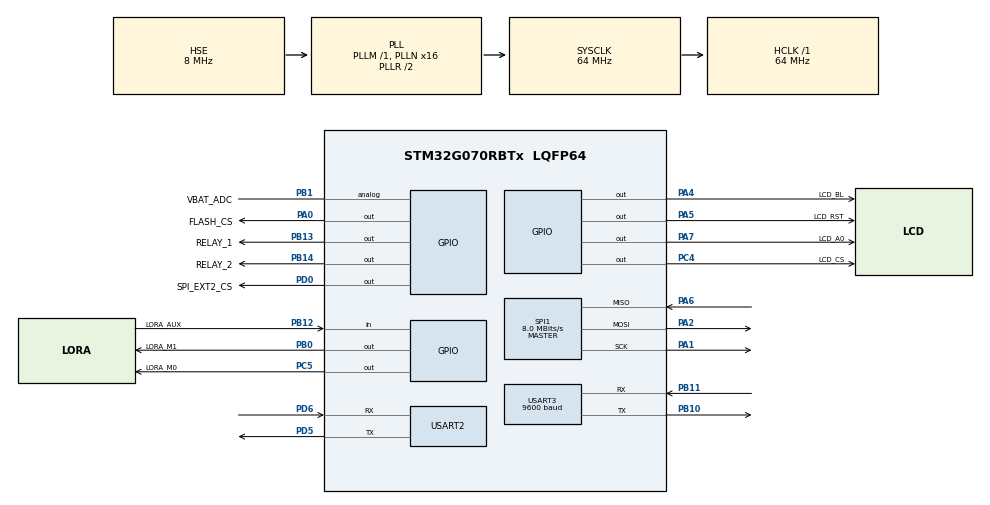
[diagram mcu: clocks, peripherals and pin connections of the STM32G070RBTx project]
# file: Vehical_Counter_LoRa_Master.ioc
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FREERTOS.Tasks01=defaultTask,24,128,StartDefaultTask,Default,NULL,Dynamic,NULL,NULL;GLCDTask,24,256,StartGLCDTask,As external,NULL,Dynamic,NULL,NULL
FREERTOS.configRECORD_STACK_HIGH_ADDRESS=1
FREERTOS.configUSE_NEWLIB_REENTRANT=1
IWDG.Prescaler=IWDG_PRESCALER_256
Mcu.Family=STM32G0
Mcu.Name=STM32G070RBTx
Mcu.Package=LQFP64
Mcu.UserConstants=LORA_USART,$$_USART3_IP_HANDLE_$$
NVIC.TIM14_IRQn=true\:3\:0\:false\:false\:true\:false\:false\:true\:true
NVIC.TimeBase=TIM14_IRQn
NVIC.TimeBaseIP=TIM14
NVIC.USART3_4_IRQn=true\:3\:0\:false\:false\:true\:true\:true\:false\:true
PA0.GPIO_Label=FLASH_CS
PA0.Signal=GPIO_Output
PA1.Mode=Full_Duplex_Master
PA1.Signal=SPI1_SCK
PA13.Mode=Serial_Wire
PA13.Signal=SYS_SWDIO
PA14-BOOT0.Mode=Serial_Wire
PA14-BOOT0.Signal=SYS_SWCLK
PA2.Mode=Full_Duplex_Master
PA2.Signal=SPI1_MOSI
PA4.GPIO_Label=LCD_BL
PA4.Signal=GPIO_Output
PA5.GPIO_Label=LCD_RST
PA5.Signal=GPIO_Output
PA6.Mode=Full_Duplex_Master
PA6.Signal=SPI1_MISO
PA7.GPIO_Label=LCD_A0
PA7.GPIO_Speed=GPIO_SPEED_FREQ_VERY_HIGH
PA7.Signal=GPIO_Output
PB0.GPIO_Label=LORA_M1
PB0.PinState=GPIO_PIN_SET
PB0.Signal=GPIO_Output
PB1.GPIO_Label=VBAT_ADC
PB1.Signal=GPIO_Analog
PB10.Mode=Asynchronous
PB10.Signal=USART3_TX
PB11.Mode=Asynchronous
PB11.Signal=USART3_RX
PB12.GPIO_Label=LORA_AUX
PB12.Signal=GPIO_Input
PB13.GPIO_Label=RELAY_1
PB13.Signal=GPIO_Output
PB14.GPIO_Label=RELAY_2
PB14.Signal=GPIO_Output
PC4.GPIO_Label=LCD_CS
PC4.GPIO_Speed=GPIO_SPEED_FREQ_VERY_HIGH
PC4.Signal=GPIO_Output
PC5.GPIO_Label=LORA_M0
PC5.PinState=GPIO_PIN_SET
PC5.Signal=GPIO_Output
PD0.GPIO_Label=SPI_EXT2_CS
PD0.Signal=GPIO_Output
PD5.Mode=Asynchronous
PD5.Signal=USART2_TX
PD6.Mode=Asynchronous
PD6.Signal=USART2_RX
PF0-OSC_IN\ (PF0).Mode=HSE-External-Oscillator
PF0-OSC_IN\ (PF0).Signal=RCC_OSC_IN
PF1-OSC_OUT\ (PF1).Mode=HSE-External-Oscillator
PF1-OSC_OUT\ (PF1).Signal=RCC_OSC_OUT
ProjectManager.HeapSize=0x200
ProjectManager.StackSize=0x400
ProjectManager.TargetToolchain=STM32CubeIDE
RCC.ADCFreq_Value=64000000
RCC.AHBFreq_Value=64000000
RCC.CortexFreq_Value=64000000
RCC.EXTERNAL_CLOCK_VALUE=48000
RCC.HCLKFreq_Value=64000000
RCC.HSE_VALUE=8000000
RCC.HSI_VALUE=16000000
RCC.LSE_VALUE=32768
RCC.PLLN=16
RCC.PLLSourceVirtual=RCC_PLLSOURCE_HSE
RCC.SYSCLKFreq_VALUE=64000000
RCC.SYSCLKSource=RCC_SYSCLKSOURCE_PLLCLK
RCC.VCOOutputFreq_Value=128000000
SPI1.BaudRatePrescaler=SPI_BAUDRATEPRESCALER_8
SPI1.CalculateBaudRate=8.0 MBits/s
SPI1.DataSize=SPI_DATASIZE_8BIT
SPI1.Direction=SPI_DIRECTION_2LINES
SPI1.Mode=SPI_MODE_MASTER
SPI1.VirtualType=VM_MASTER
USART2.VirtualMode-Asynchronous=VM_ASYNC
USART3.BaudRate=9600
USART3.VirtualMode-Asynchronous=VM_ASYNC
VP_FREERTOS_VS_CMSIS_V2.Mode=CMSIS_V2
VP_IWDG_VS_IWDG.Mode=IWDG_Activate
VP_SYS_VS_tim14.Mode=TIM14
board=custom

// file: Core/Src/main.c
/* USER CODE BEGIN Header */
/**
  ******************************************************************************
  * @file           : main.c
  * @brief          : Main program body
  ******************************************************************************
  * @attention
  *
  * Copyright (c) 2025 STMicroelectronics.
  * All rights reserved.
  *
  * This software is licensed under terms that can be found in the LICENSE file
  * in the root directory of this software component.
  * If no LICENSE file comes with this software, it is provided AS-IS.
  *
  ******************************************************************************
  */
/*
 *
 * USART USAGE
 * ***********
 * USART2->DEBUG
 * USART3->LoRa Wireless
*/
/* USER CODE END Header */
#include "main.h"
#include "cmsis_os.h"

/* USER CODE BEGIN Includes */
#include <stdio.h>
#include <stdbool.h>
#include <string.h>
#include <master_config.h>
#include "gfx.h"
#include "font.h"
#include "fnt_arial12.h"
#include <lorae32_stm32.h>
#include "myconsole_glcd.h"
#include "./Tasks/glcd_task.h"
#include "Tasks/ui.h"
#include <ctype.h>
#include <mono_glcd_240px_bmp.h>
/* USER CODE END Includes */

IWDG_HandleTypeDef hiwdg;

SPI_HandleTypeDef hspi1;

UART_HandleTypeDef huart2;
UART_HandleTypeDef huart3;

/* Definitions for defaultTask */
osThreadId_t defaultTaskHandle;
const osThreadAttr_t defaultTask_attributes = {
  .name = "defaultTask",
  .priority = (osPriority_t) osPriorityNormal,
  .stack_size = 128 * 4
};
/* Definitions for GLCDTask */
osThreadId_t GLCDTaskHandle;
const osThreadAttr_t GLCDTask_attributes = {
  .name = "GLCDTask",
  .priority = (osPriority_t) osPriorityNormal,
  .stack_size = 256 * 4
};
/* USER CODE BEGIN PV */
//disabled slaves are not polled to save time
bool slave_enabled[SLAVE_COUNT]={true,true,false,false,false,false,false,false};
uint16_t previous_speed[16];
/* USER CODE END PV */

void SystemClock_Config(void);
static void MX_GPIO_Init(void);
static void MX_USART3_UART_Init(void);
static void MX_USART2_UART_Init(void);
static void MX_SPI1_Init(void);
static void MX_IWDG_Init(void);
void StartDefaultTask(void *argument);
extern void StartGLCDTask(void *argument);

/* USER CODE BEGIN PFP */
static void ShowLogoScreen();
/* USER CODE END PFP */

int main(void)
{

  /* MCU Configuration--------------------------------------------------------*/

  /* Reset of all peripherals, Initializes the Flash interface and the Systick. */
  HAL_Init();

  /* Configure the system clock */
  SystemClock_Config();

  /* Initialize all configured peripherals */
  MX_GPIO_Init();
  MX_USART3_UART_Init();
  MX_USART2_UART_Init();
  MX_SPI1_Init();
  MX_IWDG_Init();
  /* USER CODE BEGIN 2 */
  GFXInit();
  GFXBacklightOn();
  InitConsole();
  //m2m_wifi_init();

  ShowLogoScreen();
  /* USER CODE END 2 */

  /* Init scheduler */
  osKernelInitialize();

  /* Create the thread(s) */
  /* creation of defaultTask */
  defaultTaskHandle = osThreadNew(StartDefaultTask, NULL, &defaultTask_attributes);

  /* creation of GLCDTask */
  GLCDTaskHandle = osThreadNew(StartGLCDTask, NULL, &GLCDTask_attributes);

  /* Start scheduler */
  osKernelStart();

  /* We should never get here as control is now taken by the scheduler */

  /* Infinite loop */
  /* USER CODE BEGIN WHILE */
  while (1)
  {
	  /*
	  HAL_GPIO_WritePin(LCD_BL_GPIO_Port, LCD_BL_Pin, GPIO_PIN_SET);
	  HAL_GPIO_WritePin(FLASH_CS_GPIO_Port, FLASH_CS_Pin, GPIO_PIN_RESET);
	  HAL_Delay(500);
	  HAL_GPIO_WritePin(RELAY_1_GPIO_Port, RELAY_1_Pin, GPIO_PIN_SET);
	  HAL_GPIO_WritePin(LCD_BL_GPIO_Port, LCD_BL_Pin, GPIO_PIN_RESET);
	  HAL_Delay(500);
	  HAL_GPIO_WritePin(RELAY_2_GPIO_Port, RELAY_2_Pin, GPIO_PIN_SET);
	  HAL_Delay(500);
	  HAL_GPIO_WritePin(FLASH_CS_GPIO_Port, FLASH_CS_Pin, GPIO_PIN_SET);
	  HAL_GPIO_WritePin(RELAY_1_GPIO_Port, RELAY_1_Pin, GPIO_PIN_RESET);
	  HAL_GPIO_WritePin(RELAY_2_GPIO_Port, RELAY_2_Pin, GPIO_PIN_RESET);
	  HAL_Delay(500);
	  */
    /* USER CODE END WHILE */

  }
}

void SystemClock_Config(void)
{
  RCC_OscInitTypeDef RCC_OscInitStruct = {0};
  RCC_ClkInitTypeDef RCC_ClkInitStruct = {0};

  /** Configure the main internal regulator output voltage
  */
  HAL_PWREx_ControlVoltageScaling(PWR_REGULATOR_VOLTAGE_SCALE1);

  /** Initializes the RCC Oscillators according to the specified parameters
  * in the RCC_OscInitTypeDef structure.
  */
  RCC_OscInitStruct.OscillatorType = RCC_OSCILLATORTYPE_LSI|RCC_OSCILLATORTYPE_HSE;
  RCC_OscInitStruct.HSEState = RCC_HSE_ON;
  RCC_OscInitStruct.LSIState = RCC_LSI_ON;
  RCC_OscInitStruct.PLL.PLLState = RCC_PLL_ON;
  RCC_OscInitStruct.PLL.PLLSource = RCC_PLLSOURCE_HSE;
  RCC_OscInitStruct.PLL.PLLM = RCC_PLLM_DIV1;
  RCC_OscInitStruct.PLL.PLLN = 16;
  RCC_OscInitStruct.PLL.PLLP = RCC_PLLP_DIV2;
  RCC_OscInitStruct.PLL.PLLR = RCC_PLLR_DIV2;
  if (HAL_RCC_OscConfig(&RCC_OscInitStruct) != HAL_OK)
  {
    Error_Handler();
  }

  /** Initializes the CPU, AHB and APB buses clocks
  */
  RCC_ClkInitStruct.ClockType = RCC_CLOCKTYPE_HCLK|RCC_CLOCKTYPE_SYSCLK
                              |RCC_CLOCKTYPE_PCLK1;
  RCC_ClkInitStruct.SYSCLKSource = RCC_SYSCLKSOURCE_PLLCLK;
  RCC_ClkInitStruct.AHBCLKDivider = RCC_SYSCLK_DIV1;
  RCC_ClkInitStruct.APB1CLKDivider = RCC_HCLK_DIV1;

  if (HAL_RCC_ClockConfig(&RCC_ClkInitStruct, FLASH_LATENCY_2) != HAL_OK)
  {
    Error_Handler();
  }
}

static void MX_IWDG_Init(void)
{

  hiwdg.Instance = IWDG;
  hiwdg.Init.Prescaler = IWDG_PRESCALER_256;
  hiwdg.Init.Window = 4095;
  hiwdg.Init.Reload = 4095;
  if (HAL_IWDG_Init(&hiwdg) != HAL_OK)
  {
    Error_Handler();
  }

}

static void MX_SPI1_Init(void)
{

  /* SPI1 parameter configuration*/
  hspi1.Instance = SPI1;
  hspi1.Init.Mode = SPI_MODE_MASTER;
  hspi1.Init.Direction = SPI_DIRECTION_2LINES;
  hspi1.Init.DataSize = SPI_DATASIZE_8BIT;
  hspi1.Init.CLKPolarity = SPI_POLARITY_LOW;
  hspi1.Init.CLKPhase = SPI_PHASE_1EDGE;
  hspi1.Init.NSS = SPI_NSS_SOFT;
  hspi1.Init.BaudRatePrescaler = SPI_BAUDRATEPRESCALER_8;
  hspi1.Init.FirstBit = SPI_FIRSTBIT_MSB;
  hspi1.Init.TIMode = SPI_TIMODE_DISABLE;
  hspi1.Init.CRCCalculation = SPI_CRCCALCULATION_DISABLE;
  hspi1.Init.CRCPolynomial = 7;
  hspi1.Init.CRCLength = SPI_CRC_LENGTH_DATASIZE;
  hspi1.Init.NSSPMode = SPI_NSS_PULSE_ENABLE;
  if (HAL_SPI_Init(&hspi1) != HAL_OK)
  {
    Error_Handler();
  }

}

static void MX_USART2_UART_Init(void)
{

  huart2.Instance = USART2;
  huart2.Init.BaudRate = 115200;
  huart2.Init.WordLength = UART_WORDLENGTH_8B;
  huart2.Init.StopBits = UART_STOPBITS_1;
  huart2.Init.Parity = UART_PARITY_NONE;
  huart2.Init.Mode = UART_MODE_TX_RX;
  huart2.Init.HwFlowCtl = UART_HWCONTROL_NONE;
  huart2.Init.OverSampling = UART_OVERSAMPLING_16;
  huart2.Init.OneBitSampling = UART_ONE_BIT_SAMPLE_DISABLE;
  huart2.Init.ClockPrescaler = UART_PRESCALER_DIV1;
  huart2.AdvancedInit.AdvFeatureInit = UART_ADVFEATURE_NO_INIT;
  if (HAL_UART_Init(&huart2) != HAL_OK)
  {
    Error_Handler();
  }
  if (HAL_UARTEx_SetTxFifoThreshold(&huart2, UART_TXFIFO_THRESHOLD_1_8) != HAL_OK)
  {
    Error_Handler();
  }
  if (HAL_UARTEx_SetRxFifoThreshold(&huart2, UART_RXFIFO_THRESHOLD_1_8) != HAL_OK)
  {
    Error_Handler();
  }
  if (HAL_UARTEx_DisableFifoMode(&huart2) != HAL_OK)
  {
    Error_Handler();
  }

}

static void MX_USART3_UART_Init(void)
{

  /* USER CODE BEGIN USART3_Init 0 */
  //This USART is connected to LoRa @ 9600
  /* USER CODE END USART3_Init 0 */

  huart3.Instance = USART3;
  huart3.Init.BaudRate = 9600;
  huart3.Init.WordLength = UART_WORDLENGTH_8B;
  huart3.Init.StopBits = UART_STOPBITS_1;
  huart3.Init.Parity = UART_PARITY_NONE;
  huart3.Init.Mode = UART_MODE_TX_RX;
  huart3.Init.HwFlowCtl = UART_HWCONTROL_NONE;
  huart3.Init.OverSampling = UART_OVERSAMPLING_16;
  huart3.Init.OneBitSampling = UART_ONE_BIT_SAMPLE_DISABLE;
  huart3.Init.ClockPrescaler = UART_PRESCALER_DIV1;
  huart3.AdvancedInit.AdvFeatureInit = UART_ADVFEATURE_NO_INIT;
  if (HAL_UART_Init(&huart3) != HAL_OK)
  {
    Error_Handler();
  }
  /* USER CODE BEGIN USART3_Init 2 */
  //ATOMIC_SET_BIT(huart3.Instance->CR1, USART_CR1_RXNEIE_RXFNEIE);

  /* USER CODE END USART3_Init 2 */

}

static void MX_GPIO_Init(void)
{
  GPIO_InitTypeDef GPIO_InitStruct = {0};

  /* GPIO Ports Clock Enable */
  __HAL_RCC_GPIOF_CLK_ENABLE();
  __HAL_RCC_GPIOA_CLK_ENABLE();
  __HAL_RCC_GPIOC_CLK_ENABLE();
  __HAL_RCC_GPIOB_CLK_ENABLE();
  __HAL_RCC_GPIOD_CLK_ENABLE();

  /*Configure GPIO pin Output Level */
  HAL_GPIO_WritePin(GPIOA, FLASH_CS_Pin|LCD_BL_Pin|LCD_RST_Pin|LCD_A0_Pin, GPIO_PIN_RESET);

  /*Configure GPIO pin Output Level */
  HAL_GPIO_WritePin(LCD_CS_GPIO_Port, LCD_CS_Pin, GPIO_PIN_RESET);

  /*Configure GPIO pin Output Level */
  HAL_GPIO_WritePin(LORA_M0_GPIO_Port, LORA_M0_Pin, GPIO_PIN_SET);

  /*Configure GPIO pin Output Level */
  HAL_GPIO_WritePin(LORA_M1_GPIO_Port, LORA_M1_Pin, GPIO_PIN_SET);

  /*Configure GPIO pin Output Level */
  HAL_GPIO_WritePin(GPIOB, RELAY_1_Pin|RELAY_2_Pin, GPIO_PIN_RESET);

  /*Configure GPIO pin Output Level */
  HAL_GPIO_WritePin(SPI_EXT2_CS_GPIO_Port, SPI_EXT2_CS_Pin, GPIO_PIN_RESET);

  /*Configure GPIO pins : FLASH_CS_Pin LCD_BL_Pin LCD_RST_Pin */
  GPIO_InitStruct.Pin = FLASH_CS_Pin|LCD_BL_Pin|LCD_RST_Pin;
  GPIO_InitStruct.Mode = GPIO_MODE_OUTPUT_PP;
  GPIO_InitStruct.Pull = GPIO_NOPULL;
  GPIO_InitStruct.Speed = GPIO_SPEED_FREQ_LOW;
  HAL_GPIO_Init(GPIOA, &GPIO_InitStruct);

  /*Configure GPIO pin : LCD_A0_Pin */
  GPIO_InitStruct.Pin = LCD_A0_Pin;
  GPIO_InitStruct.Mode = GPIO_MODE_OUTPUT_PP;
  GPIO_InitStruct.Pull = GPIO_NOPULL;
  GPIO_InitStruct.Speed = GPIO_SPEED_FREQ_VERY_HIGH;
  HAL_GPIO_Init(LCD_A0_GPIO_Port, &GPIO_InitStruct);

  /*Configure GPIO pin : LCD_CS_Pin */
  GPIO_InitStruct.Pin = LCD_CS_Pin;
  GPIO_InitStruct.Mode = GPIO_MODE_OUTPUT_PP;
  GPIO_InitStruct.Pull = GPIO_NOPULL;
  GPIO_InitStruct.Speed = GPIO_SPEED_FREQ_VERY_HIGH;
  HAL_GPIO_Init(LCD_CS_GPIO_Port, &GPIO_InitStruct);

  /*Configure GPIO pin : LORA_M0_Pin */
  GPIO_InitStruct.Pin = LORA_M0_Pin;
  GPIO_InitStruct.Mode = GPIO_MODE_OUTPUT_PP;
  GPIO_InitStruct.Pull = GPIO_NOPULL;
  GPIO_InitStruct.Speed = GPIO_SPEED_FREQ_LOW;
  HAL_GPIO_Init(LORA_M0_GPIO_Port, &GPIO_InitStruct);

  /*Configure GPIO pins : LORA_M1_Pin RELAY_1_Pin RELAY_2_Pin */
  GPIO_InitStruct.Pin = LORA_M1_Pin|RELAY_1_Pin|RELAY_2_Pin;
  GPIO_InitStruct.Mode = GPIO_MODE_OUTPUT_PP;
  GPIO_InitStruct.Pull = GPIO_NOPULL;
  GPIO_InitStruct.Speed = GPIO_SPEED_FREQ_LOW;
  HAL_GPIO_Init(GPIOB, &GPIO_InitStruct);

  /*Configure GPIO pin : VBAT_ADC_Pin */
  GPIO_InitStruct.Pin = VBAT_ADC_Pin;
  GPIO_InitStruct.Mode = GPIO_MODE_ANALOG;
  GPIO_InitStruct.Pull = GPIO_NOPULL;
  HAL_GPIO_Init(VBAT_ADC_GPIO_Port, &GPIO_InitStruct);

  /*Configure GPIO pin : LORA_AUX_Pin */
  GPIO_InitStruct.Pin = LORA_AUX_Pin;
  GPIO_InitStruct.Mode = GPIO_MODE_INPUT;
  GPIO_InitStruct.Pull = GPIO_NOPULL;
  HAL_GPIO_Init(LORA_AUX_GPIO_Port, &GPIO_InitStruct);

  /*Configure GPIO pin : SPI_EXT2_CS_Pin */
  GPIO_InitStruct.Pin = SPI_EXT2_CS_Pin;
  GPIO_InitStruct.Mode = GPIO_MODE_OUTPUT_PP;
  GPIO_InitStruct.Pull = GPIO_NOPULL;
  GPIO_InitStruct.Speed = GPIO_SPEED_FREQ_LOW;
  HAL_GPIO_Init(SPI_EXT2_CS_GPIO_Port, &GPIO_InitStruct);

}

/* USER CODE BEGIN 4 */
static void ShowLogoScreen()
{

	GFXDrawImage(5, 20, mono_glcd_240px_bmp);
	GFXUpdate();

	HAL_Delay(4000);
}

static bool PollSlave(uint8_t id, uint8_t *speed1, uint8_t *speed2)
{
	bool result;
	uint8_t packet[]={0x00, 0x02+id, 0x06, 'S', 'E', 'N', 'D'};
	uint8_t received_data[32];

	printf("-----Connecting with slave %d ... \r\n ", id);
	LoRaE32Send(packet, 7);

	result=LoRaE32WaitforResponse(6, 1000);

	if(result)
	{
		printf("Reply received from slave\r\n ");
		printf("Checking reply ...\r\n ");

		LoRaE32GetResponse(received_data, 6);
		received_data[3]='\0';

		if(strcmp((char *)received_data,"RAM")==0)
		{
			printf("Reply is OK\r\n ");
			printf("Connection established\r\n ");

			*speed1=received_data[4];
			*speed2=received_data[5];

			return true;
		}
		else
		{

			printf("Reply is Invalid\r\n ");
			printf((char *)received_data);

			return false;
		}
	}
	else
	{
		printf("Reply NOT received from slave\r\n ");
		return false;
	}
}

int putchar(int c)
{
	ConsolePutChar((char) toupper(c));
	HAL_UART_Transmit(&huart2, (uint8_t *)&c, 1, 100);

	return c;
}

/* USER CODE END 4 */

void StartDefaultTask(void *argument)
{
  /* USER CODE BEGIN 5 */
	bool result;

	printf("JAI SHREE RAM !!!\n ");
	printf("CONFIGURING LORA.\n ");

	LoRaE32Init();
	result=LoRaE32Configure();

	if(!result)
	{
		printf("FAILED\n ");
		while(1);
	}
	else
	{
		printf("SUCCESS\n ");
	}

	osDelay(1000);

	SetCurrentScreen(SCREEN_MAIN);

	for(;;)
	{
		for(int i=0;i<SLAVE_COUNT;i++)
		{
			if(slave_enabled[i])
			{
				previous_speed[i*2]=speed[i*2];
				previous_speed[i*2+1]=speed[i*2+1];

				bool conn_state=PollSlave(i, &speed[i*2],&speed[(i*2)+1]);
				UISetRadarState(i, conn_state);

				if(!conn_state)
				{
					//slave offline
					continue;
				}

				HAL_IWDG_Refresh(&hiwdg);

				//compare previous and new speeds
				//in sensors
				if(previous_speed[i*2]==0 && speed[i*2]!=0)
				{
					//New entry detected
					vehicle_count++;

					light_state=STOP;

					HAL_GPIO_WritePin(RELAY_1_GPIO_Port, RELAY_1_Pin, GPIO_PIN_SET);
					HAL_GPIO_WritePin(RELAY_2_GPIO_Port, RELAY_2_Pin, GPIO_PIN_SET);
				}
				//out sensors
				if(previous_speed[i*2+1]==0 && speed[i*2+1]!=0)
				{
					//New entry detected
					if(vehicle_count>0)
					{
						vehicle_count--;

						if(vehicle_count==0)
						{
							light_state=GO;

							HAL_GPIO_WritePin(RELAY_1_GPIO_Port, RELAY_1_Pin, GPIO_PIN_RESET);
							HAL_GPIO_WritePin(RELAY_2_GPIO_Port, RELAY_2_Pin, GPIO_PIN_RESET);
						}
					}

				}
			}
			else
			{
				UISetRadarState(i, false);
			}
		}

		osDelay(250);
	}

	/* Infinite loop */
	/*
	for(;;)
	{
		printf("WAITING FOR LORA PACKET ON AIR\r\n ");
		result=LoRaE32WaitforResponse(3, 1100);

		if(result)
		{
			printf("RECVD\r\n ");
			lora_response[4]='\n';
			lora_response[5]='\0';
			printf(lora_response);
		}
		else
		{
			printf("NOT RECVD\r\n ");
		}
	}
	*/
  /* USER CODE END 5 */
}

void HAL_TIM_PeriodElapsedCallback(TIM_HandleTypeDef *htim)
{
  if (htim->Instance == TIM14)
  {
    HAL_IncTick();
  }
}

void Error_Handler(void)
{
  __disable_irq();
  while (1)
  {
  }
}
